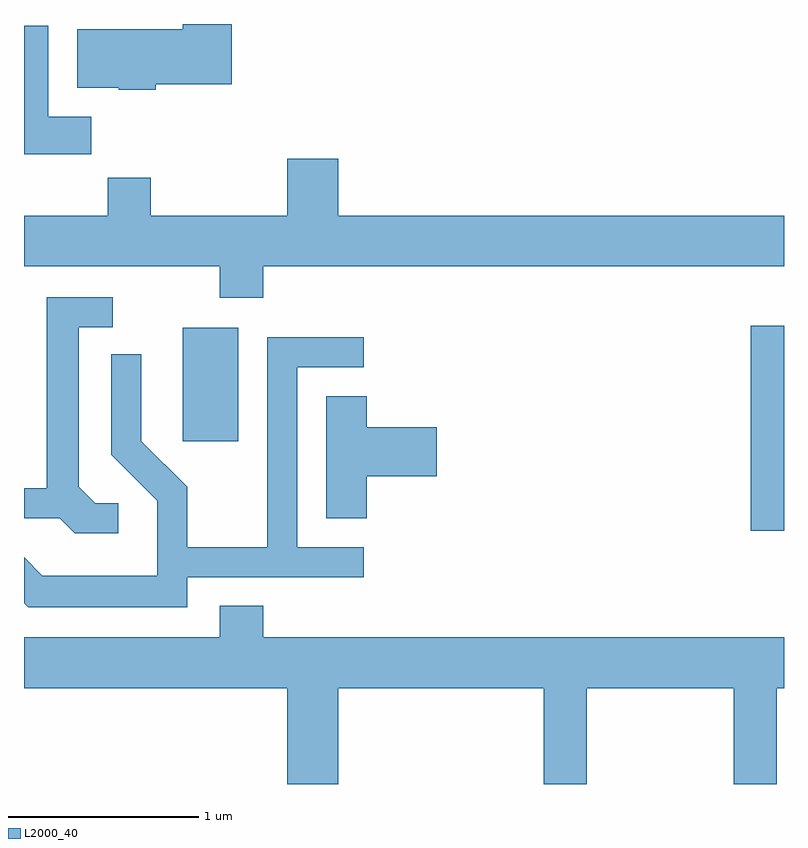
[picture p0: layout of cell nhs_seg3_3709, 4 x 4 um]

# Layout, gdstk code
import gdstk
lib = gdstk.Library(unit=1e-6, precision=1e-09)
def R(c, l, rs):  # rectangles x0, y0, x1, y1
    for r in rs: c.add(gdstk.rectangle(r[:2], r[2:], *l))
def P(c, l, *ps):  # polygons
    for p in ps: c.add(gdstk.Polygon(p, *l))
L2000_40 = (2000, 40)

nhs_seg3_3709 = lib.new_cell('nhs_seg3_3709')
R(nhs_seg3_3709, L2000_40, [(297.436,1191.226,297.611,1192.304), (294.446,1191.696,294.739,1192.294)])
P(nhs_seg3_3709, L2000_40, [(294.304,1193.576),(294.704,1193.576),(294.704,1193.892),(294.446,1193.892),(294.446,1193.864),(293.891,1193.864),(293.891,1193.556),(294.11,1193.556),(294.11,1193.546),(294.304,1193.546)],
  [(293.964,1193.404),(293.739,1193.404),(293.739,1193.884),(293.611,1193.884),(293.611,1193.206),(293.964,1193.206)],
  [(294.869,1192.616),(297.611,1192.616),(297.611,1192.884),(295.264,1192.884),(295.264,1193.184),(294.996,1193.184),(294.996,1192.884),(294.279,1192.884),(294.279,1193.084),(294.051,1193.084),(294.051,1192.884),(293.611,1192.884),(293.611,1192.616),(294.641,1192.616),(294.641,1192.451),(294.869,1192.451)],
  [(294.108,1191.369),(293.987,1191.369),(293.899,1191.457),(293.899,1192.296),(294.078,1192.296),(294.078,1192.454),(293.731,1192.454),(293.731,1191.449),(293.611,1191.449),(293.611,1191.291),(293.799,1191.291),(293.879,1191.211),(294.108,1191.211)],
  [(294.469,1190.981),(295.398,1190.981),(295.398,1191.139),(295.049,1191.139),(295.049,1192.086),(295.398,1192.086),(295.398,1192.244),(294.891,1192.244),(294.891,1191.139),(294.469,1191.139),(294.469,1191.457),(294.229,1191.697),(294.229,1192.153),(294.071,1192.153),(294.071,1191.624),(294.311,1191.384),(294.311,1190.989),(293.707,1190.989),(293.611,1191.085),(293.611,1190.844),(293.634,1190.821),(294.469,1190.821)],
  [(295.414,1191.511),(295.784,1191.511),(295.784,1191.769),(295.414,1191.769),(295.414,1191.934),(295.201,1191.934),(295.201,1191.291),(295.414,1191.291)],
  [(294.641,1190.829),(294.641,1190.664),(293.611,1190.664),(293.611,1190.396),(294.996,1190.396),(294.996,1189.892),(295.264,1189.892),(295.264,1190.396),(296.346,1190.396),(296.346,1189.892),(296.574,1189.892),(296.574,1190.396),(297.346,1190.396),(297.346,1189.892),(297.574,1189.892),(297.574,1190.396),(297.611,1190.396),(297.611,1190.664),(294.869,1190.664),(294.869,1190.829)])

lib.write_gds('nhs_seg3_3709.gds')
